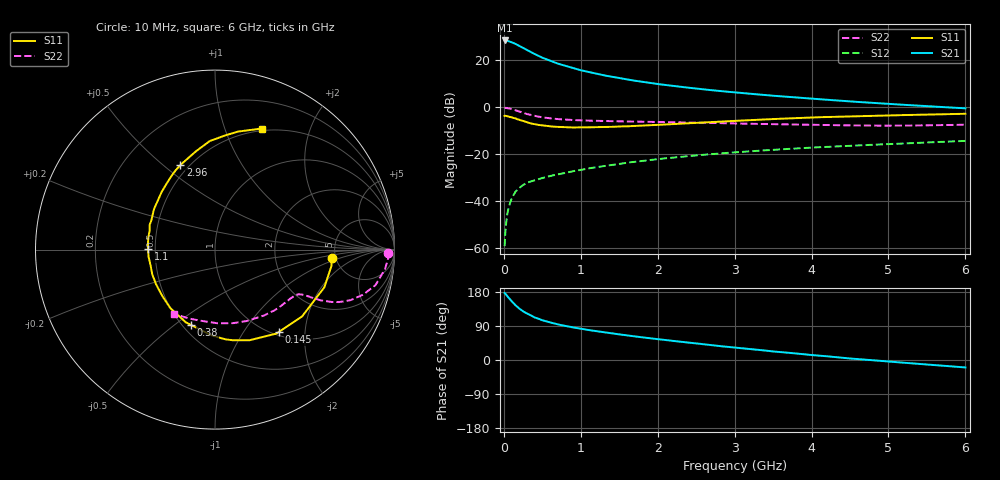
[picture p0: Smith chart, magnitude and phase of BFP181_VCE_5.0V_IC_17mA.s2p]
! Infineon Technologies  Discrete & RF Semiconductors
! BFP181
! VCE = 5.0 V,  IC =  17 mA
! Common Emitter S-Parameters:  Jan 2016
# GHz  S  MA  R  50
!  f  S11  S21  S12  S22
! GHz  MAG  ANG  MAG  ANG  MAG  ANG  MAG  ANG
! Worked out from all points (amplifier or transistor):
!   210 points, 10 MHz to 6 GHz, reference 50 ohm
!   highest |S21| = 28.4 dB at 10 MHz (marker M1)
!   |S21| within 3 dB of that: start of sweep to 238.6 MHz
!   unconditionally stable (mu >= 1): 849.2 MHz to 5.998 GHz
!   at 185 MHz: K = 0.36, MSG = 30.6 dB, |S12| = -34.9 dB
!   at 1.52 GHz: K = 1.17, MAG = 15.6 dB, |S12| = -24.0 dB
!   at 6 GHz: K = 1.00, MSG = 6.9 dB, |S12| = -14.4 dB
!   S11 on the Smith chart (normalised r, x): 10 MHz: 4.63, -0.71; 145 MHz: 1.06, -1.47; 380 MHz: 0.55, -0.57; 1.1 GHz: 0.46, +0.00; 2.96 GHz: 0.45, +0.57; 6 GHz: 0.48, +1.35
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0.01  0.652 -3.9  26.29 176.8  0.0011 80.6  0.9656 -1.0
0.02  0.6551 -7.9  26.24 174.9  0.0022 83.1  0.9677 -2.4
0.05  0.6442 -19.1  25.84 167.1  0.0059 80.8  0.9537 -6.5
0.1  0.6115 -37.5  24.16 155.4  0.0112 71.8  0.9159 -12.5
0.145  0.5804 -52.2  22.44 145.8  0.0153 66.5  0.8665 -16.5
0.2  0.5405 -69.1  20.26 135.8  0.019 63.6  0.8072 -20.4
0.26  0.5027 -83.6  17.81 127.2  0.0225 58.8  0.7484 -23.0
0.3  0.4785 -92.2  16.45 122.6  0.0245 57.2  0.7148 -24.1
0.38  0.4406 -107.7  14.07 114.7  0.0272 54.7  0.6638 -25.4
0.4  0.4366 -111.9  13.53 112.3  0.0279 54.2  0.6511 -25.7
0.5  0.4104 -127.2  11.31 104.9  0.0311 52.8  0.6067 -26.3
0.6  0.3912 -138.7  9.78 99.1  0.0342 53.3  0.5779 -26.7
0.8  0.3757 -158.6  7.571 89.8  0.0398 53.6  0.5435 -27.4
1.02  0.3722 -175.1  6.011 81.8  0.0469 54.3  0.5225 -28.7
1.1  0.3733 179.7  5.611 79.0  0.0497 54.1  0.5168 -29.3
1.5  0.3891 159.4  4.156 67.6  0.0622 54.1  0.4994 -33.3
2.02  0.4214 138.6  3.078 54.6  0.079 51.8  0.4843 -40.2
2.96  0.5082 112.4  2.093 33.6  0.1081 45.7  0.4519 -55.5
3.1  0.52 109.1  1.997 31.0  0.1121 44.6  0.4464 -58.1
4.1  0.6109 91.2  1.478 11.5  0.1403 36.6  0.4183 -78.6
5.1  0.6741 77.9  1.147 -5.6  0.1665 29.2  0.4044 -101.7
6  0.724 68.7  0.945 -19.7  0.1913 21.9  0.4242 -122.9
